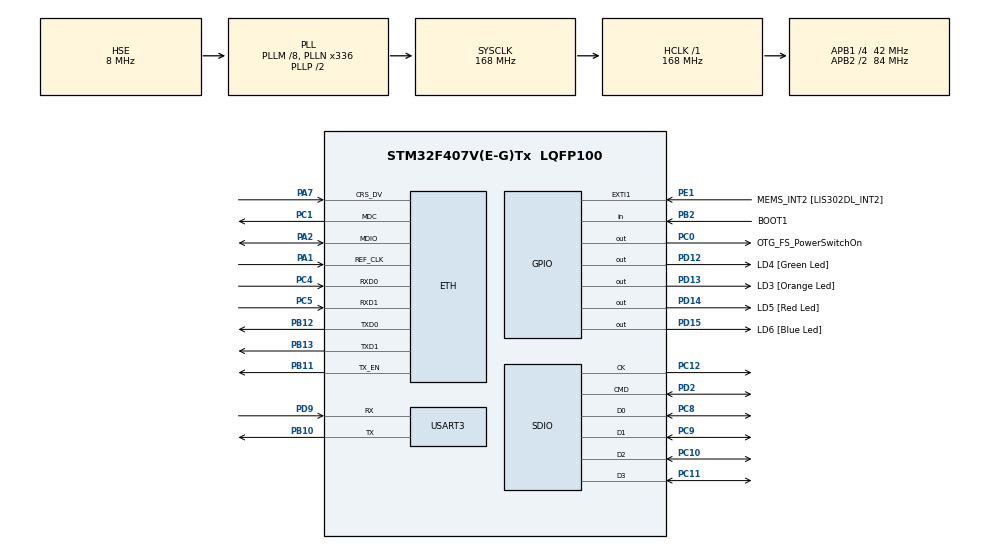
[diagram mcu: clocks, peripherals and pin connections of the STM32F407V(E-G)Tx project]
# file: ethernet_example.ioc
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ETH.AutoNegotiation=ETH_AUTONEGOTIATION_ENABLE
ETH.MediaInterface=ETH_MEDIA_INTERFACE_RMII
ETH.PHY_DUPLEX_STATUS=0x0010
ETH.PHY_Name_RMII=userPHY
ETH.PHY_READ_TO=0x0004FFFF
ETH.PHY_SPEED_STATUS=0x0004
ETH.PHY_SR=0x31
ETH.PHY_User_Name=LAN8720A
ETH.PHY_WRITE_TO=0x0004FFFF
ETH.PhyAddress=0
FREERTOS.Tasks01=defaultTask,0,128,StartDefaultTask,Default,NULL
LWIP.GATEWAY_ADDRESS=192.168.001.001
LWIP.IP_ADDRESS=192.168.001.030
LWIP.LWIP_DHCP=1
LWIP.LWIP_HTTPD=0
LWIP.NETMASK_ADDRESS=255.255.255.000
LWIP.Version=v2.0.3_Cube
Mcu.Family=STM32F4
Mcu.Name=STM32F407V(E-G)Tx
Mcu.Package=LQFP100
NVIC.ETH_IRQn=true\:5\:0\:false\:false\:true\:true\:false
NVIC.PriorityGroup=NVIC_PRIORITYGROUP_4
NVIC.TIM1_UP_TIM10_IRQn=true\:0\:0\:false\:false\:true\:false\:false
NVIC.TimeBase=TIM1_UP_TIM10_IRQn
NVIC.TimeBaseIP=TIM1
PA1.Mode=RMII
PA1.Signal=ETH_REF_CLK
PA13.GPIO_Label=SWDIO
PA13.Signal=SYS_JTMS-SWDIO
PA14.GPIO_Label=SWCLK
PA14.Signal=SYS_JTCK-SWCLK
PA2.Mode=RMII
PA2.Signal=ETH_MDIO
PA7.Mode=RMII
PA7.Signal=ETH_CRS_DV
PB10.Mode=Asynchronous
PB10.Signal=USART3_TX
PB11.Mode=RMII
PB11.Signal=ETH_TX_EN
PB12.Mode=RMII
PB12.Signal=ETH_TXD0
PB13.Mode=RMII
PB13.Signal=ETH_TXD1
PB2.GPIO_Label=BOOT1
PB2.GPIO_Mode=GPIO_MODE_INPUT
PB2.GPIO_PuPd=GPIO_NOPULL
PB2.Signal=GPIO_Input
PC0.GPIO_Label=OTG_FS_PowerSwitchOn
PC0.GPIO_PuPd=GPIO_NOPULL
PC0.GPIO_Speed=GPIO_SPEED_FREQ_LOW
PC0.PinState=GPIO_PIN_SET
PC0.Signal=GPIO_Output
PC1.Mode=RMII
PC1.Signal=ETH_MDC
PC10.Mode=SD_4_bits_Wide_bus
PC10.Signal=SDIO_D2
PC11.Mode=SD_4_bits_Wide_bus
PC11.Signal=SDIO_D3
PC12.Mode=SD_4_bits_Wide_bus
PC12.Signal=SDIO_CK
PC14-OSC32_IN.GPIO_Label=PC14-OSC32_IN
PC14-OSC32_IN.Mode=LSE-External-Oscillator
PC14-OSC32_IN.Signal=RCC_OSC32_IN
PC15-OSC32_OUT.GPIO_Label=PC15-OSC32_OUT
PC15-OSC32_OUT.Mode=LSE-External-Oscillator
PC15-OSC32_OUT.Signal=RCC_OSC32_OUT
PC4.Mode=RMII
PC4.Signal=ETH_RXD0
PC5.Mode=RMII
PC5.Signal=ETH_RXD1
PC8.Mode=SD_4_bits_Wide_bus
PC8.Signal=SDIO_D0
PC9.Mode=SD_4_bits_Wide_bus
PC9.Signal=SDIO_D1
PD12.GPIO_Label=LD4 [Green Led]
PD12.GPIO_PuPd=GPIO_NOPULL
PD12.GPIO_Speed=GPIO_SPEED_FREQ_LOW
PD12.Signal=GPIO_Output
PD13.GPIO_Label=LD3 [Orange Led]
PD13.GPIO_PuPd=GPIO_NOPULL
PD13.GPIO_Speed=GPIO_SPEED_FREQ_LOW
PD13.Signal=GPIO_Output
PD14.GPIO_Label=LD5 [Red Led]
PD14.GPIO_PuPd=GPIO_NOPULL
PD14.GPIO_Speed=GPIO_SPEED_FREQ_LOW
PD14.Signal=GPIO_Output
PD15.GPIO_Label=LD6 [Blue Led]
PD15.GPIO_PuPd=GPIO_NOPULL
PD15.GPIO_Speed=GPIO_SPEED_FREQ_LOW
PD15.Signal=GPIO_Output
PD2.Mode=SD_4_bits_Wide_bus
PD2.Signal=SDIO_CMD
PD9.Mode=Asynchronous
PD9.Signal=USART3_RX
PE1.GPIO_Label=MEMS_INT2 [LIS302DL_INT2]
PE1.GPIO_ModeDefaultEXTI=GPIO_MODE_EVT_RISING
PE1.GPIO_PuPd=GPIO_NOPULL
PE1.Signal=GPXTI1
PH0-OSC_IN.GPIO_Label=PH0-OSC_IN
PH0-OSC_IN.Mode=HSE-External-Oscillator
PH0-OSC_IN.Signal=RCC_OSC_IN
PH1-OSC_OUT.GPIO_Label=PH1-OSC_OUT
PH1-OSC_OUT.Mode=HSE-External-Oscillator
PH1-OSC_OUT.Signal=RCC_OSC_OUT
ProjectManager.HeapSize=0x200
ProjectManager.StackSize=0x400
ProjectManager.TargetToolchain=Makefile
RCC.48MHZClocksFreq_Value=48000000
RCC.AHBFreq_Value=168000000
RCC.APB1CLKDivider=RCC_HCLK_DIV4
RCC.APB1Freq_Value=42000000
RCC.APB1TimFreq_Value=84000000
RCC.APB2CLKDivider=RCC_HCLK_DIV2
RCC.APB2Freq_Value=84000000
RCC.APB2TimFreq_Value=168000000
RCC.CortexFreq_Value=168000000
RCC.HCLKFreq_Value=168000000
RCC.HSE_VALUE=8000000
RCC.HSI_VALUE=16000000
RCC.PLLM=8
RCC.PLLN=336
RCC.PLLQ=7
RCC.PLLSourceVirtual=RCC_PLLSOURCE_HSE
RCC.SYSCLKFreq_VALUE=168000000
RCC.SYSCLKSource=RCC_SYSCLKSOURCE_PLLCLK
RCC.VCOOutputFreq_Value=336000000
USART3.VirtualMode=VM_ASYNC
VP_FATFS_VS_SDIO.Mode=SDIO
VP_FREERTOS_VS_ENABLE.Mode=Enabled
VP_LWIP_VS_Enabled.Mode=Enabled
VP_SYS_VS_tim1.Mode=TIM1
board=STM32F4DISCOVERY

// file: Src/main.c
/**
  ******************************************************************************
  * @file           : main.c
  * @brief          : Main program body
  ******************************************************************************
  * This notice applies to any and all portions of this file
  * that are not between comment pairs USER CODE BEGIN and
  * USER CODE END. Other portions of this file, whether
  * inserted by the user or by software development tools
  * are owned by their respective copyright owners.
  *
  * Copyright (c) 2018 STMicroelectronics International N.V.
  * All rights reserved.
  *
  * Redistribution and use in source and binary forms, with or without
  * modification, are permitted, provided that the following conditions are met:
  *
  * 1. Redistribution of source code must retain the above copyright notice,
  *    this list of conditions and the following disclaimer.
  * 2. Redistributions in binary form must reproduce the above copyright notice,
  *    this list of conditions and the following disclaimer in the documentation
  *    and/or other materials provided with the distribution.
  * 3. Neither the name of STMicroelectronics nor the names of other
  *    contributors to this software may be used to endorse or promote products
  *    derived from this software without specific written permission.
  * 4. This software, including modifications and/or derivative works of this
  *    software, must execute solely and exclusively on microcontroller or
  *    microprocessor devices manufactured by or for STMicroelectronics.
  * 5. Redistribution and use of this software other than as permitted under
  *    this license is void and will automatically terminate your rights under
  *    this license.
  *
  * THIS SOFTWARE IS PROVIDED BY STMICROELECTRONICS AND CONTRIBUTORS "AS IS"
  * AND ANY EXPRESS, IMPLIED OR STATUTORY WARRANTIES, INCLUDING, BUT NOT
  * LIMITED TO, THE IMPLIED WARRANTIES OF MERCHANTABILITY, FITNESS FOR A
  * PARTICULAR PURPOSE AND NON-INFRINGEMENT OF THIRD PARTY INTELLECTUAL PROPERTY
  * RIGHTS ARE DISCLAIMED TO THE FULLEST EXTENT PERMITTED BY LAW. IN NO EVENT
  * SHALL STMICROELECTRONICS OR CONTRIBUTORS BE LIABLE FOR ANY DIRECT, INDIRECT,
  * INCIDENTAL, SPECIAL, EXEMPLARY, OR CONSEQUENTIAL DAMAGES (INCLUDING, BUT NOT
  * LIMITED TO, PROCUREMENT OF SUBSTITUTE GOODS OR SERVICES; LOSS OF USE, DATA,
  * OR PROFITS; OR BUSINESS INTERRUPTION) HOWEVER CAUSED AND ON ANY THEORY OF
  * LIABILITY, WHETHER IN CONTRACT, STRICT LIABILITY, OR TORT (INCLUDING
  * NEGLIGENCE OR OTHERWISE) ARISING IN ANY WAY OUT OF THE USE OF THIS SOFTWARE,
  * EVEN IF ADVISED OF THE POSSIBILITY OF SUCH DAMAGE.
  *
  ******************************************************************************
  */
#include "main.h"
#include "stm32f4xx_hal.h"
#include "cmsis_os.h"
#include "fatfs.h"
#include "lwip.h"

/* USER CODE BEGIN Includes */
#include "bootloader.h"
/* USER CODE END Includes */

SD_HandleTypeDef hsd;

UART_HandleTypeDef huart3;

osThreadId defaultTaskHandle;

/* USER CODE BEGIN PV */
/* Private variables ---------------------------------------------------------*/
__IO uint32_t LocalTime = 0; /* this variable is used to create a time reference incremented by 10ms */
uint32_t timingdelay;
/* USER CODE END PV */

void SystemClock_Config(void);
static void MX_GPIO_Init(void);
static void MX_SDIO_SD_Init(void);
static void MX_USART3_UART_Init(void);
void StartDefaultTask(void const * argument);

/* USER CODE BEGIN PFP */
/* Private function prototypes -----------------------------------------------*/

/* USER CODE END PFP */

int main(void)
{

  /* MCU Configuration----------------------------------------------------------*/

  /* Reset of all peripherals, Initializes the Flash interface and the Systick. */
  HAL_Init();

  /* Configure the system clock */
  SystemClock_Config();

  /* Initialize all configured peripherals */
  MX_GPIO_Init();
  MX_SDIO_SD_Init();
  MX_USART3_UART_Init();

  /* Create the thread(s) */
  /* definition and creation of defaultTask */
  osThreadDef(defaultTask, StartDefaultTask, osPriorityNormal, 0, 128);
  defaultTaskHandle = osThreadCreate(osThread(defaultTask), NULL);

  /* Start scheduler */
  osKernelStart();

  /* We should never get here as control is now taken by the scheduler */

  /* Infinite loop */
  while (1)
  {

  }

}

void SystemClock_Config(void)
{

  RCC_OscInitTypeDef RCC_OscInitStruct;
  RCC_ClkInitTypeDef RCC_ClkInitStruct;

    /**Configure the main internal regulator output voltage
    */
  __HAL_RCC_PWR_CLK_ENABLE();

  __HAL_PWR_VOLTAGESCALING_CONFIG(PWR_REGULATOR_VOLTAGE_SCALE1);

    /**Initializes the CPU, AHB and APB busses clocks
    */
  RCC_OscInitStruct.OscillatorType = RCC_OSCILLATORTYPE_HSE;
  RCC_OscInitStruct.HSEState = RCC_HSE_ON;
  RCC_OscInitStruct.PLL.PLLState = RCC_PLL_ON;
  RCC_OscInitStruct.PLL.PLLSource = RCC_PLLSOURCE_HSE;
  RCC_OscInitStruct.PLL.PLLM = 8;
  RCC_OscInitStruct.PLL.PLLN = 336;
  RCC_OscInitStruct.PLL.PLLP = RCC_PLLP_DIV2;
  RCC_OscInitStruct.PLL.PLLQ = 7;
  if (HAL_RCC_OscConfig(&RCC_OscInitStruct) != HAL_OK)
  {
    _Error_Handler(__FILE__, __LINE__);
  }

    /**Initializes the CPU, AHB and APB busses clocks
    */
  RCC_ClkInitStruct.ClockType = RCC_CLOCKTYPE_HCLK|RCC_CLOCKTYPE_SYSCLK
                              |RCC_CLOCKTYPE_PCLK1|RCC_CLOCKTYPE_PCLK2;
  RCC_ClkInitStruct.SYSCLKSource = RCC_SYSCLKSOURCE_PLLCLK;
  RCC_ClkInitStruct.AHBCLKDivider = RCC_SYSCLK_DIV1;
  RCC_ClkInitStruct.APB1CLKDivider = RCC_HCLK_DIV4;
  RCC_ClkInitStruct.APB2CLKDivider = RCC_HCLK_DIV2;

  if (HAL_RCC_ClockConfig(&RCC_ClkInitStruct, FLASH_LATENCY_5) != HAL_OK)
  {
    _Error_Handler(__FILE__, __LINE__);
  }

    /**Configure the Systick interrupt time
    */
  HAL_SYSTICK_Config(HAL_RCC_GetHCLKFreq()/1000);

    /**Configure the Systick
    */
  HAL_SYSTICK_CLKSourceConfig(SYSTICK_CLKSOURCE_HCLK);

  /* SysTick_IRQn interrupt configuration */
  HAL_NVIC_SetPriority(SysTick_IRQn, 15, 0);
}

/* SDIO init function */
static void MX_SDIO_SD_Init(void)
{

  hsd.Instance = SDIO;
  hsd.Init.ClockEdge = SDIO_CLOCK_EDGE_RISING;
  hsd.Init.ClockBypass = SDIO_CLOCK_BYPASS_DISABLE;
  hsd.Init.ClockPowerSave = SDIO_CLOCK_POWER_SAVE_DISABLE;
  hsd.Init.BusWide = SDIO_BUS_WIDE_1B;
  hsd.Init.HardwareFlowControl = SDIO_HARDWARE_FLOW_CONTROL_DISABLE;
  hsd.Init.ClockDiv = 0;

}

/* USART3 init function */
static void MX_USART3_UART_Init(void)
{

  huart3.Instance = USART3;
  huart3.Init.BaudRate = 115200;
  huart3.Init.WordLength = UART_WORDLENGTH_8B;
  huart3.Init.StopBits = UART_STOPBITS_1;
  huart3.Init.Parity = UART_PARITY_NONE;
  huart3.Init.Mode = UART_MODE_TX_RX;
  huart3.Init.HwFlowCtl = UART_HWCONTROL_NONE;
  huart3.Init.OverSampling = UART_OVERSAMPLING_16;
  if (HAL_UART_Init(&huart3) != HAL_OK)
  {
    _Error_Handler(__FILE__, __LINE__);
  }

}

/** Configure pins as
        * Analog
        * Input
        * Output
        * EVENT_OUT
        * EXTI
*/
static void MX_GPIO_Init(void)
{

  GPIO_InitTypeDef GPIO_InitStruct;

  /* GPIO Ports Clock Enable */
  __HAL_RCC_GPIOC_CLK_ENABLE();
  __HAL_RCC_GPIOH_CLK_ENABLE();
  __HAL_RCC_GPIOA_CLK_ENABLE();
  __HAL_RCC_GPIOB_CLK_ENABLE();
  __HAL_RCC_GPIOD_CLK_ENABLE();
  __HAL_RCC_GPIOE_CLK_ENABLE();

  /*Configure GPIO pin Output Level */
  HAL_GPIO_WritePin(OTG_FS_PowerSwitchOn_GPIO_Port, OTG_FS_PowerSwitchOn_Pin, GPIO_PIN_SET);

  /*Configure GPIO pin Output Level */
  HAL_GPIO_WritePin(GPIOD, LD4_Pin|LD3_Pin|LD5_Pin|LD6_Pin, GPIO_PIN_RESET);

  /*Configure GPIO pin : OTG_FS_PowerSwitchOn_Pin */
  GPIO_InitStruct.Pin = OTG_FS_PowerSwitchOn_Pin;
  GPIO_InitStruct.Mode = GPIO_MODE_OUTPUT_PP;
  GPIO_InitStruct.Pull = GPIO_NOPULL;
  GPIO_InitStruct.Speed = GPIO_SPEED_FREQ_LOW;
  HAL_GPIO_Init(OTG_FS_PowerSwitchOn_GPIO_Port, &GPIO_InitStruct);

  /*Configure GPIO pin : BOOT1_Pin */
  GPIO_InitStruct.Pin = BOOT1_Pin;
  GPIO_InitStruct.Mode = GPIO_MODE_INPUT;
  GPIO_InitStruct.Pull = GPIO_NOPULL;
  HAL_GPIO_Init(BOOT1_GPIO_Port, &GPIO_InitStruct);

  /*Configure GPIO pins : LD4_Pin LD3_Pin LD5_Pin LD6_Pin */
  GPIO_InitStruct.Pin = LD4_Pin|LD3_Pin|LD5_Pin|LD6_Pin;
  GPIO_InitStruct.Mode = GPIO_MODE_OUTPUT_PP;
  GPIO_InitStruct.Pull = GPIO_NOPULL;
  GPIO_InitStruct.Speed = GPIO_SPEED_FREQ_LOW;
  HAL_GPIO_Init(GPIOD, &GPIO_InitStruct);

  /*Configure GPIO pin : MEMS_INT2_Pin */
  GPIO_InitStruct.Pin = MEMS_INT2_Pin;
  GPIO_InitStruct.Mode = GPIO_MODE_EVT_RISING;
  GPIO_InitStruct.Pull = GPIO_NOPULL;
  HAL_GPIO_Init(MEMS_INT2_GPIO_Port, &GPIO_InitStruct);

}

/* USER CODE BEGIN 4 */
/*** Bootloader ***************************************************************/
void Enter_Bootloader(void)
{
    FATFS FatFs;
    FIL fil;
    FRESULT fr;
    UINT num;
    uint8_t  i;
    uint64_t data;
    uint32_t cntr = 0;
    char msg[40] = {0x00};

    /* Check for flash write protection */
    if(Bootloader_GetProtectionStatus() & BL_PROTECTION_WRP)
    {
        print("Application space in flash is write protected.");
        print("Press button to disable flash write protection...");
        LED_R_ON();
        for(i=0; i<100; ++i)
        {
            LED_Y_TG();
            HAL_Delay(50);
            if(IS_BTN_PRESSED())
            {
                print("Disabling write protection and generating system reset...");
                Bootloader_ConfigProtection(BL_PROTECTION_NONE);
            }
        }
        LED_R_OFF();
        LED_Y_OFF();
        print("Button was not pressed, write protection is still active.");
        print("Exiting Bootloader.");
        return;
    }

    /* Initialize SD card */
    if(!SDMMC1_Init())
    {
        /* Mount SD card */
        if(f_mount(&FatFs, "", 1) == FR_OK)
        {
            print("SD mounted.");
            /* Open file */
            fr = f_open(&fil, "test.elf", FA_READ);
            if(fr == FR_OK)
            {
                print("Software found on SD.");
                /* Check application size found on SD card */
                if(Bootloader_CheckSize( f_size(&fil) ) == BL_OK)
                {
                    print("App size OK.");

                    /* Init Bootloader and Flash */
                    Bootloader_Init();

                    /* Erase Flash */
                    print("Erasing flash...");
                    LED_Y_ON();
                    Bootloader_Erase();
                    LED_Y_OFF();
                    print("Flash erase finished.");

                    /* If BTN is pressed, then skip programming */
                    if(IS_BTN_PRESSED())
                    {
                        print("Programming skipped.");
                        f_close(&fil);
                        return;
                    }

                    /* Programming */
                    print("Starting programming...");
                    LED_Y_ON();
                    Bootloader_FlashBegin();
                    do
                    {
                        data = 0xFFFFFFFFFFFFFFFF;
                        fr = f_read(&fil, &data, 8, &num);
                        if(num)
                        {
                            uint8_t status = Bootloader_FlashNext(data);
                            if(status == BL_OK)
                            {
                                cntr++;
                            }
                            else
                            {
                                sprintf(msg, "Error at: %u", cntr);
                                print(msg);
                            }
                        }
                        if(cntr % 256 == 0)
                        {
                            /* Toggle green LED during programming */
                            LED_G_TG();
                        }
                    } while((fr == FR_OK) && (num > 0));
                    print("Programming finished.");
                    sprintf(msg, "Flashed: %u of (uint64_t) data.", cntr);
                    print(msg);
                    Bootloader_FlashEnd();
                    LED_G_OFF();
                    LED_Y_OFF();
                }
                f_close(&fil);

            }
            else /* f_open fails */
            {
                print("File cannot be opened.");
            }

            f_mount(NULL, "", 1);
            print("SD dismounted.");

        }
        else /* f_mount fails */
        {
            print("SD card cannot be mounted.");
        }

    }
    else /* SDMMC1_Init fails */
    {
        print("SD card cannot be initialized.");
    }

    /* Enable flash write protection */
#if (USE_WRITE_PROTECTION)
    print("Enablig flash write protection and generating system reset...");
    if(Bootloader_ConfigProtection(BL_PROTECTION_WRP) != BL_OK)
    {
        print("Failed to enable write protection.");
        print("Exiting Bootloader.");
    }
#endif
}
/* USER CODE END 4 */

/* StartDefaultTask function */
void StartDefaultTask(void const * argument)
{
  /* init code for LWIP */
  MX_LWIP_Init();

  /* init code for FATFS */
  MX_FATFS_Init();

  for(;;)
  {
    osDelay(1);
  }
}

void HAL_TIM_PeriodElapsedCallback(TIM_HandleTypeDef *htim)
{
  if (htim->Instance == TIM1) {
    HAL_IncTick();
  }
}

void _Error_Handler(char *file, int line)
{
  /* USER CODE BEGIN Error_Handler_Debug */
  /* User can add his own implementation to report the HAL error return state */
  HAL_GPIO_TogglePin(GPIOD, LD5_Pin);
  while(1)
  {
  }
  /* USER CODE END Error_Handler_Debug */
}

/************************ (C) COPYRIGHT STMicroelectronics *****END OF FILE****/
